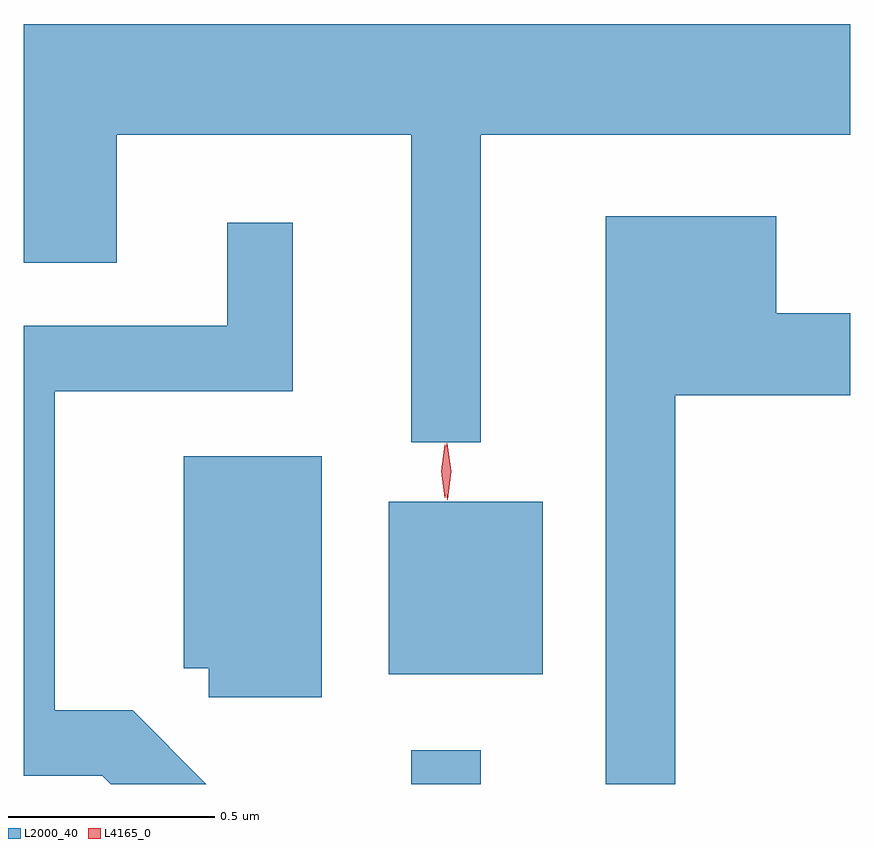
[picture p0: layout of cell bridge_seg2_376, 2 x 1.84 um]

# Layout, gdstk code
import gdstk
lib = gdstk.Library(unit=1e-6, precision=1e-09)
def R(c, l, rs):  # rectangles x0, y0, x1, y1
    for r in rs: c.add(gdstk.rectangle(r[:2], r[2:], *l))
def P(c, l, *ps):  # polygons
    for p in ps: c.add(gdstk.Polygon(p, *l))
L2000_40 = (2000, 40)
L4165_0 = (4165, 0)

bridge_seg2_376 = lib.new_cell('bridge_seg2_376')
R(bridge_seg2_376, L2000_40, [(433.281,1011.226,433.449,1011.308), (433.226,1011.491,433.599,1011.909)])
P(bridge_seg2_376, L2000_40, [(433.449,1012.796),(434.343,1012.796),(434.343,1013.064),(432.343,1013.064),(432.343,1012.486),(432.569,1012.486),(432.569,1012.796),(433.281,1012.796),(433.281,1012.053),(433.449,1012.053)],
  [(433.919,1012.166),(434.343,1012.166),(434.343,1012.364),(434.164,1012.364),(434.164,1012.599),(433.751,1012.599),(433.751,1011.226),(433.919,1011.226)],
  [(432.607,1011.404),(432.419,1011.404),(432.419,1012.176),(432.994,1012.176),(432.994,1012.583),(432.836,1012.583),(432.836,1012.334),(432.343,1012.334),(432.343,1011.246),(432.534,1011.246),(432.554,1011.226),(432.785,1011.226)],
  [(433.064,1012.019),(432.731,1012.019),(432.731,1011.506),(432.791,1011.506),(432.791,1011.436),(433.064,1011.436)])
P(bridge_seg2_376, L4165_0, [(433.368,1011.914),(433.358,1011.982),(433.367,1012.05),(433.368,1012.05),(433.368,1012.05),(433.378,1011.982),(433.369,1011.914),(433.369,1011.914)],
  [(433.362,1011.918),(433.353,1011.982),(433.362,1012.047),(433.363,1012.047),(433.363,1012.047),(433.373,1011.982),(433.363,1011.918),(433.363,1011.918)])

lib.write_gds('bridge_seg2_376.gds')
